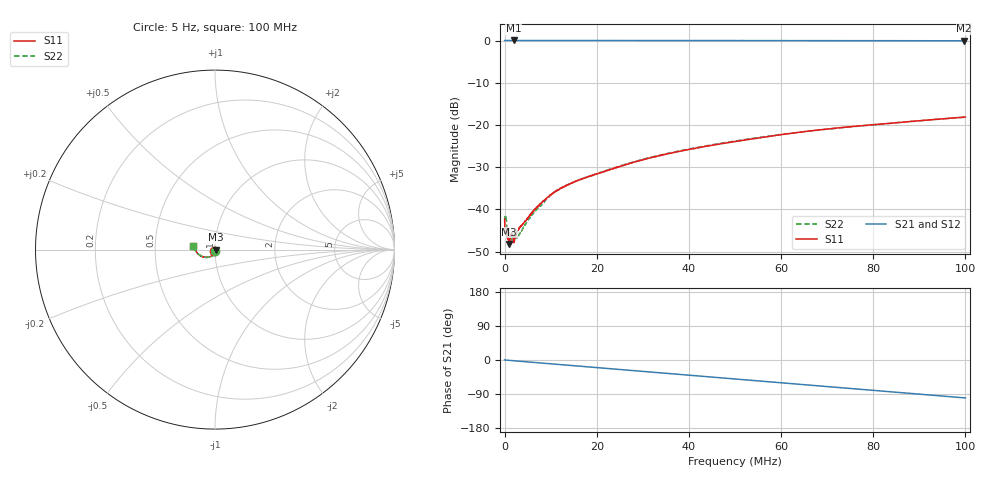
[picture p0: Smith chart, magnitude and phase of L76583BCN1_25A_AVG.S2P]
!Agilent Technologies,E5061B,MY49102235,A.02.00
!Date: Tue Jul 11 14:54:06 2023
!Data & Calibration Information:
!Freq	S11:SOLT2(ON)	S21:SOLT2(ON)	S12:SOLT2(ON)	S22:SOLT2(ON)
# Hz S RI R 50
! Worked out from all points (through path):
!   1600 points, 5 Hz to 100 MHz, reference 50 ohm
!   highest |S21| = 0.02 dB at 2.001 MHz (marker M1); lowest = -0.1 dB at 99.75 MHz (marker M2)
!   group delay of S21, straight-line fit = 2.78 ns
!   lowest |S11| = -48.2 dB at 1.001 MHz (marker M3), VSWR 1.01, Z = 50.4 - j0.089 ohm
!   |S11| at or under -10 dB: start of sweep to end of sweep
!   |S22| runs from -48.7 to -18.2 dB; largest |S21 - S12| = 0.0026
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5  -0.0052 -0.00565  1.002 0.00797  1 0.0103  -0.00158 -0.00755
437778.6  0.00513 -0.000642  1.001 -0.0054  1.001 -0.00597  0.0066 -0.00229
625395.8  0.00507 -0.000703  1.002 -0.0105  1.002 -0.01  0.0061 -0.00108
1000630  0.00379 -0.000883  1.001 -0.0165  1.001 -0.016  0.00514 -0.0018
1563482  0.00436 -0.00304  1.001 -0.0262  1.001 -0.0253  0.00314 -0.00363
2001256  0.00304 -0.00302  1.002 -0.0349  1.001 -0.0346  0.00316 -0.00275
2376490  0.00329 -0.00323  0.9997 -0.0412  1 -0.0415  0.00392 -0.0029
3064420  0.00416 -0.004  0.9998 -0.0533  0.999 -0.0531  0.00301 -0.00384
6003757  0.00326 -0.00846  0.9954 -0.1045  0.9955 -0.1043  0.00278 -0.00826
8880555  0.00185 -0.0131  0.9891 -0.1547  0.989 -0.1542  0.0011 -0.0128
1.025641e7  0.000721 -0.015  0.9851 -0.1784  0.985 -0.178  -0.000117 -0.0152
1.156974e7  -0.000252 -0.0171  0.9808 -0.2009  0.9805 -0.2006  -0.00121 -0.0171
1.669794e7  -0.00433 -0.0224  0.9581 -0.2878  0.9581 -0.2875  -0.00481 -0.0224
2.582865e7  -0.0121 -0.0309  0.9004 -0.4364  0.9002 -0.4362  -0.0102 -0.0321
3.333334e7  -0.0215 -0.0372  0.8349 -0.5503  0.8349 -0.5499  -0.0205 -0.0382
5.003127e7  -0.0468 -0.0429  0.6406 -0.7666  0.6406 -0.7663  -0.0472 -0.0438
6.672921e7  -0.0778 -0.036  0.3921 -0.9169  0.3924 -0.9169  -0.0771 -0.0363
7.53596e7  -0.0921 -0.0258  0.2499 -0.9643  0.2501 -0.9643  -0.0914 -0.0268
8.33646e7  -0.1036 -0.0126  0.1131 -0.989  0.1131 -0.9891  -0.1031 -0.0147
9.161976e7  -0.114 0.00338  -0.0305 -0.9938  -0.0303 -0.9939  -0.1138 0.000246
9.974984e7  -0.122 0.0212  -0.1704 -0.9782  -0.1701 -0.9784  -0.1219 0.0183
1e8  -0.1222 0.0217  -0.1746 -0.9776  -0.1744 -0.9777  -0.1222 0.019
